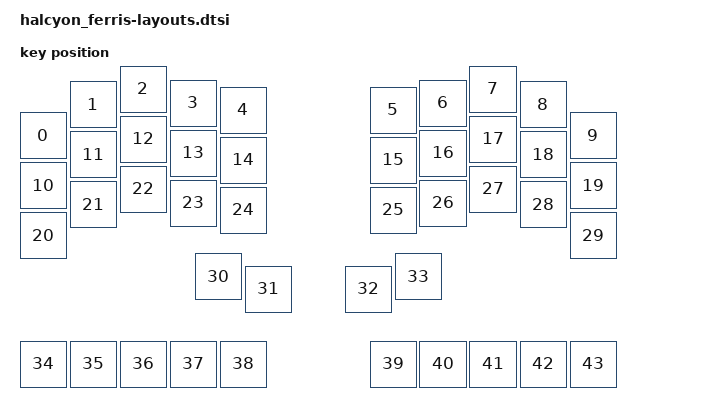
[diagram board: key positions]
#include <physical_layouts.dtsi>

/ {
    splitkb_halcyon_ferris: splitkb_halcyon_ferris {
        compatible = "zmk,physical-layout";
        display-name = "Halcyon Ferris";

        keys  //                     w   h    x    y     rot    rx    ry
            = <&key_physical_attrs 100 100    0   93       0     0     0>
            , <&key_physical_attrs 100 100  100   31       0     0     0>
            , <&key_physical_attrs 100 100  200    0       0     0     0>
            , <&key_physical_attrs 100 100  300   28       0     0     0>
            , <&key_physical_attrs 100 100  400   42       0     0     0>
            , <&key_physical_attrs 100 100  700   42       0     0     0>
            , <&key_physical_attrs 100 100  800   28       0     0     0>
            , <&key_physical_attrs 100 100  900    0       0     0     0>
            , <&key_physical_attrs 100 100 1000   31       0     0     0>
            , <&key_physical_attrs 100 100 1100   93       0     0     0>
            , <&key_physical_attrs 100 100    0  193       0     0     0>
            , <&key_physical_attrs 100 100  100  131       0     0     0>
            , <&key_physical_attrs 100 100  200  100       0     0     0>
            , <&key_physical_attrs 100 100  300  128       0     0     0>
            , <&key_physical_attrs 100 100  400  142       0     0     0>
            , <&key_physical_attrs 100 100  700  142       0     0     0>
            , <&key_physical_attrs 100 100  800  128       0     0     0>
            , <&key_physical_attrs 100 100  900  100       0     0     0>
            , <&key_physical_attrs 100 100 1000  131       0     0     0>
            , <&key_physical_attrs 100 100 1100  193       0     0     0>
            , <&key_physical_attrs 100 100    0  293       0     0     0>
            , <&key_physical_attrs 100 100  100  231       0     0     0>
            , <&key_physical_attrs 100 100  200  200       0     0     0>
            , <&key_physical_attrs 100 100  300  228       0     0     0>
            , <&key_physical_attrs 100 100  400  242       0     0     0>
            , <&key_physical_attrs 100 100  700  242       0     0     0>
            , <&key_physical_attrs 100 100  800  228       0     0     0>
            , <&key_physical_attrs 100 100  900  200       0     0     0>
            , <&key_physical_attrs 100 100 1000  231       0     0     0>
            , <&key_physical_attrs 100 100 1100  293       0     0     0>
            , <&key_physical_attrs 100 100  350  375       0     0     0>
            , <&key_physical_attrs 100 100  450  400       0     0     0>
            , <&key_physical_attrs 100 100  650  400       0     0     0>
            , <&key_physical_attrs 100 100  750  375       0     0     0>
            , <&key_physical_attrs 100 100    0  550       0     0     0>
            , <&key_physical_attrs 100 100  100  550       0     0     0>
            , <&key_physical_attrs 100 100  200  550       0     0     0>
            , <&key_physical_attrs 100 100  300  550       0     0     0>
            , <&key_physical_attrs 100 100  400  550       0     0     0>
            , <&key_physical_attrs 100 100  700  550       0     0     0>
            , <&key_physical_attrs 100 100  800  550       0     0     0>
            , <&key_physical_attrs 100 100  900  550       0     0     0>
            , <&key_physical_attrs 100 100 1000  550       0     0     0>
            , <&key_physical_attrs 100 100 1100  550       0     0     0>
            ;
    };
};
